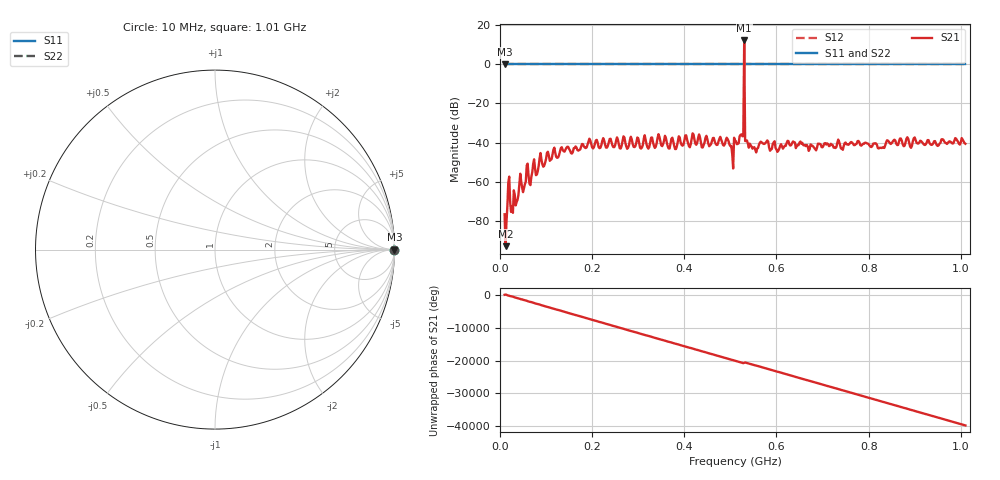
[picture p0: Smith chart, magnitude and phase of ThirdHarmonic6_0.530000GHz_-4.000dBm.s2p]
! 8/15/2025 4:27:55 PM
! C:\ANRITSUVNA\TEMP\TEMP.S2P
! CHANNEL.1
! TR.MEASUREMENT
! RAW.DATA
! RF.CORRECTION.OFF
! AVERAGING.OFF
! IF.BANDWIDTH: 5KHZ
! SWEEPTYPE:  FREQ.SWEEP(Linear)
! Reference Plane Port Info
! PORT:  PORT1  PORT2
! DISTANCE:  0  m  0  m
! TIME:  0  s  0  s
! PHASE.OFFSET:  0  deg.  0  deg.
! LOSS:  0  dB  0  dB
! REF.LOSS:  0  dB  0  dB
! REF.FREQ:  0  Hz  0  Hz
! Power Info
! POWER:  -20  dBm  -20  dBm
! EFF.POWER:  -20  dBm  -20  dBm
! SOURCE.ATTEN:  0  dB  0  dB
! TEST.ATTEN:  0  dB  0  dB
# GHZ S RI R 50.0
! FREQ.GHZ  S11RE  S11IM  S21RE  S21IM  S12RE  S12IM  S22RE  S22IM
!; PortSelection: Port_12
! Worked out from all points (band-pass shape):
!   501 points, 10 MHz to 1.01 GHz, reference 50 ohm
!   highest |S21| = 12.03 dB at 530 MHz (marker M1); lowest = -92.6 dB at 12 MHz (marker M2)
!   |S21| within 3 dB of the highest: 529.8768 MHz to 530.1173 MHz (240.5 kHz wide, 0.0454 % of centre)
!   lowest |S11| = 0.0 dB at 10 MHz (marker M3)
!   |S11| at or under -10 dB: nowhere
!   |S22| runs from 0.0 to 0.0 dB; largest |S21 - S12| = 4.9
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0.01  1 0  7.8e-05 0.00013  1 0  1 0
0.012  1 0  -1.69e-05 1.63e-05  1 0  1 0
0.02  1 0  -0.000927 0.00102  1 0  1 0
0.026  1 0  3.11e-05 -0.00024  1 0  1 0
0.036  1 0  -0.000308 -2.85e-05  1 0  1 0
0.044  1 0  -0.000858 -0.00139  1 0  1 0
0.052  1 0  2.6e-05 -0.0007  1 0  1 0
0.058  1 0  0.00162 0.00207  1 0  1 0
0.066  1 0  0.000462 0.000699  1 0  1 0
0.088  1 0  -0.00423 -0.0035  1 0  1 0
0.178  1 0  -0.0093 -6.95e-05  1 0  1 0
0.322  1 0  -0.00421 0.00571  1 0  1 0
0.344  1 0  0.0135 -0.00962  1 0  1 0
0.51  1 0  -0.00574 0.0101  1 0  1 0
0.524  1 0  0.00242 -0.0163  1 0  1 0
0.526  1 0  -0.0146 -0.00223  1 0  1 0
0.53  1 0  -3.553 -1.832  1 0  1 0
0.534  1 0  -0.00758 -0.0081  1 0  1 0
0.536  1 0  -0.00868 0.00741  1 0  1 0
0.678  1 0  -0.0063 -0.00554  1 0  1 0
0.844  1 0  0.00778 0.00725  1 0  1 0
1.01  1 0  -0.00876 -0.00354  1 0  1 0
